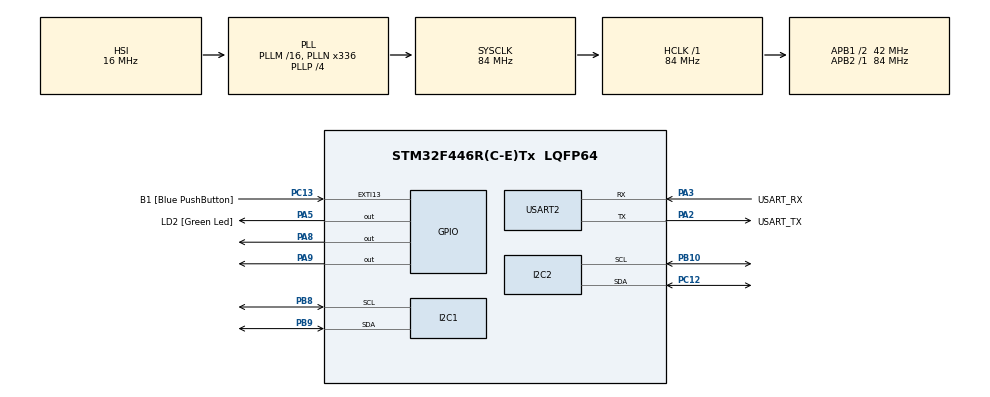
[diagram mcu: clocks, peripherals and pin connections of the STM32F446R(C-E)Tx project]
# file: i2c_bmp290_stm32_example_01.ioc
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Mcu.Family=STM32F4
Mcu.Name=STM32F446R(C-E)Tx
Mcu.Package=LQFP64
NVIC.PriorityGroup=NVIC_PRIORITYGROUP_0
PA13.GPIO_Label=TMS
PA13.Mode=Serial_Wire
PA13.Signal=SYS_JTMS-SWDIO
PA14.GPIO_Label=TCK
PA14.Mode=Serial_Wire
PA14.Signal=SYS_JTCK-SWCLK
PA2.GPIO_Label=USART_TX
PA2.Mode=Asynchronous
PA2.Signal=USART2_TX
PA3.GPIO_Label=USART_RX
PA3.Mode=Asynchronous
PA3.Signal=USART2_RX
PA5.GPIO_Label=LD2 [Green Led]
PA5.Signal=GPIO_Output
PA8.Signal=GPIO_Output
PA9.Signal=GPIO_Output
PB10.Mode=I2C
PB10.Signal=I2C2_SCL
PB3.GPIO_Label=SWO
PB3.Signal=SYS_JTDO-SWO
PB8.Mode=I2C
PB8.Signal=I2C1_SCL
PB9.Mode=I2C
PB9.Signal=I2C1_SDA
PC12.Mode=I2C
PC12.Signal=I2C2_SDA
PC13.GPIO_Label=B1 [Blue PushButton]
PC13.GPIO_ModeDefaultEXTI=GPIO_MODE_IT_FALLING
PC13.Signal=GPXTI13
PC14-OSC32_IN.Mode=LSE-External-Oscillator
PC14-OSC32_IN.Signal=RCC_OSC32_IN
PC15-OSC32_OUT.Mode=LSE-External-Oscillator
PC15-OSC32_OUT.Signal=RCC_OSC32_OUT
PH0-OSC_IN.Mode=HSE-External-Oscillator
PH0-OSC_IN.Signal=RCC_OSC_IN
PH1-OSC_OUT.Mode=HSE-External-Oscillator
PH1-OSC_OUT.Signal=RCC_OSC_OUT
ProjectManager.HeapSize=0x200
ProjectManager.StackSize=0x400
ProjectManager.TargetToolchain=STM32CubeIDE
RCC.48MHZClocksFreq_Value=84000000
RCC.AHBFreq_Value=84000000
RCC.APB1CLKDivider=RCC_HCLK_DIV2
RCC.APB1Freq_Value=42000000
RCC.APB1TimFreq_Value=84000000
RCC.APB2Freq_Value=84000000
RCC.APB2TimFreq_Value=84000000
RCC.CortexFreq_Value=84000000
RCC.FLatency-AdvancedSettings=FLASH_LATENCY_2
RCC.HCLKFreq_Value=84000000
RCC.HSE_VALUE=8000000
RCC.HSI_VALUE=16000000
RCC.PLLN=336
RCC.PLLP=RCC_PLLP_DIV4
RCC.SYSCLKFreq_VALUE=84000000
RCC.SYSCLKSource=RCC_SYSCLKSOURCE_PLLCLK
RCC.USBFreq_Value=168000000
RCC.VCOOutputFreq_Value=336000000
USART2.VirtualMode=VM_ASYNC
board=NUCLEO-F446RE

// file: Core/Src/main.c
/* USER CODE BEGIN Header */
/**
  ******************************************************************************
  * @file           : main.c
  * @brief          : Main program body
  ******************************************************************************
  * @attention
  *
  * Copyright (c) 2024 STMicroelectronics.
  * All rights reserved.
  *
  * This software is licensed under terms that can be found in the LICENSE file
  * in the root directory of this software component.
  * If no LICENSE file comes with this software, it is provided AS-IS.
  *
  ******************************************************************************
  */
/* USER CODE END Header */
#include "main.h"
#include "stm32f4xx_hal.h"
#include "i2c.h"
#include "usart.h"
#include "gpio.h"

/* USER CODE BEGIN Includes */
#include "liquidcrystal_i2c.h"
#include <stdio.h>
#include "bmp280.h"

BMP280_HandleTypedef bmp280;

float pressure, temperature, humidity;

uint16_t size;
uint8_t Data[256];
/* USER CODE END Includes */

void SystemClock_Config(void);

int main(void)
{

  /* MCU Configuration--------------------------------------------------------*/

  /* Reset of all peripherals, Initializes the Flash interface and the Systick. */
  HAL_Init();

  /* Configure the system clock */
  SystemClock_Config();

  /* Initialize all configured peripherals */
  MX_GPIO_Init();
  MX_I2C1_Init();
  MX_USART2_UART_Init();
  MX_I2C2_Init();

  /* USER CODE BEGIN 2 */
  HD44780_Init(2);
  HD44780_Clear();
  HD44780_SetCursor(0,0);

  bmp280_init_default_params(&bmp280.params);
  bmp280.addr = BMP280_I2C_ADDRESS_0;
  bmp280.i2c = &hi2c1;

  while (!bmp280_init(&bmp280, &bmp280.params))
  {
      size = sprintf((char *)Data, "BMP280 initialization failed\n");
      HAL_UART_Transmit(&huart2, Data, size, 1000);
      HAL_Delay(2000);
  }

  bool bme280p = bmp280.id == BME280_CHIP_ID;
  size = sprintf((char *)Data, "BMP280: found %s\r\n", bme280p ? "BME280" : "BMP280");
  HAL_UART_Transmit(&huart2, Data, size, 1000);

  // Initialize the GPIO pin for the fan (PA8)
  GPIO_InitTypeDef GPIO_InitStruct = {0};
  __HAL_RCC_GPIOA_CLK_ENABLE();  // Enable GPIOA clock

  // PA8 configuration
  GPIO_InitStruct.Pin = GPIO_PIN_8;
  GPIO_InitStruct.Mode = GPIO_MODE_OUTPUT_PP;
  GPIO_InitStruct.Pull = GPIO_NOPULL;
  GPIO_InitStruct.Speed = GPIO_SPEED_FREQ_LOW;
  HAL_GPIO_Init(GPIOA, &GPIO_InitStruct);

  // PA9 configuration
  GPIO_InitStruct.Pin = GPIO_PIN_9;
  GPIO_InitStruct.Mode = GPIO_MODE_OUTPUT_PP;
  GPIO_InitStruct.Pull = GPIO_NOPULL;
  GPIO_InitStruct.Speed = GPIO_SPEED_FREQ_LOW;
  HAL_GPIO_Init(GPIOA, &GPIO_InitStruct);
  /* USER CODE END 2 */

  /* Infinite loop */
  while (1)
  {
      HAL_Delay(100);
      while (!bmp280_read_float(&bmp280, &temperature, &pressure, &humidity)) {
          size = sprintf((char *)Data,
                  "Temperature/pressure reading failed\r\n");
          HAL_UART_Transmit(&huart2, Data, size, 1000);
          HAL_Delay(2000);
      }

      size = sprintf((char *)Data,"Pressure: %.2f Pa, Temperature: %.2f C",
              pressure, temperature);
      HAL_UART_Transmit(&huart2, Data, size, 1000);

      HD44780_Clear();

      HD44780_SetCursor(0, 0);
      HD44780_PrintStr("Temp:");

      HD44780_SetCursor(6, 0);
      size = sprintf((char *)Data, "%.2f C", temperature);
      HD44780_PrintStr((char *)Data);

      HD44780_SetCursor(0, 1);
      HD44780_PrintStr("Humidity:");

      HD44780_SetCursor(10, 1);
      size = sprintf((char *)Data, "%.2f%%", humidity);
      HD44780_PrintStr((char *)Data);

      if (temperature > 30.0f) {
          HAL_GPIO_WritePin(GPIOA, GPIO_PIN_8, GPIO_PIN_SET);
          HAL_GPIO_WritePin(GPIOA, GPIO_PIN_9, GPIO_PIN_RESET);
      } else {
          HAL_GPIO_WritePin(GPIOA, GPIO_PIN_8, GPIO_PIN_RESET);
          HAL_GPIO_WritePin(GPIOA, GPIO_PIN_9, GPIO_PIN_SET);

      }

      if (bme280p) {
          size = sprintf((char *)Data,", Humidity: %.2f\r\n", humidity);
          HAL_UART_Transmit(&huart2, Data, size, 1000);
      } else {
          size = sprintf((char *)Data, "\r\n");
          HAL_UART_Transmit(&huart2, Data, size, 1000);
      }

      HAL_Delay(5000);
  }
}

void SystemClock_Config(void)
{
  RCC_OscInitTypeDef RCC_OscInitStruct = {0};
  RCC_ClkInitTypeDef RCC_ClkInitStruct = {0};

  /** Configure the main internal regulator output voltage
  */
  __HAL_RCC_PWR_CLK_ENABLE();
  __HAL_PWR_VOLTAGESCALING_CONFIG(PWR_REGULATOR_VOLTAGE_SCALE3);

  /** Initializes the RCC Oscillators according to the specified parameters
  * in the RCC_OscInitTypeDef structure.
  */
  RCC_OscInitStruct.OscillatorType = RCC_OSCILLATORTYPE_HSI;
  RCC_OscInitStruct.HSIState = RCC_HSI_ON;
  RCC_OscInitStruct.HSICalibrationValue = RCC_HSICALIBRATION_DEFAULT;
  RCC_OscInitStruct.PLL.PLLState = RCC_PLL_ON;
  RCC_OscInitStruct.PLL.PLLSource = RCC_PLLSOURCE_HSI;
  RCC_OscInitStruct.PLL.PLLM = 16;
  RCC_OscInitStruct.PLL.PLLN = 336;
  RCC_OscInitStruct.PLL.PLLP = RCC_PLLP_DIV4;
  RCC_OscInitStruct.PLL.PLLQ = 2;
  RCC_OscInitStruct.PLL.PLLR = 2;
  if (HAL_RCC_OscConfig(&RCC_OscInitStruct) != HAL_OK)
  {
    Error_Handler();
  }

  /** Initializes the CPU, AHB and APB buses clocks
  */
  RCC_ClkInitStruct.ClockType = RCC_CLOCKTYPE_HCLK|RCC_CLOCKTYPE_SYSCLK
                              |RCC_CLOCKTYPE_PCLK1|RCC_CLOCKTYPE_PCLK2;
  RCC_ClkInitStruct.SYSCLKSource = RCC_SYSCLKSOURCE_PLLCLK;
  RCC_ClkInitStruct.AHBCLKDivider = RCC_SYSCLK_DIV1;
  RCC_ClkInitStruct.APB1CLKDivider = RCC_HCLK_DIV2;
  RCC_ClkInitStruct.APB2CLKDivider = RCC_HCLK_DIV1;

  if (HAL_RCC_ClockConfig(&RCC_ClkInitStruct, FLASH_LATENCY_2) != HAL_OK)
  {
    Error_Handler();
  }
}

void Error_Handler(void)
{
  __disable_irq();
  while (1)
  {
  }
}
